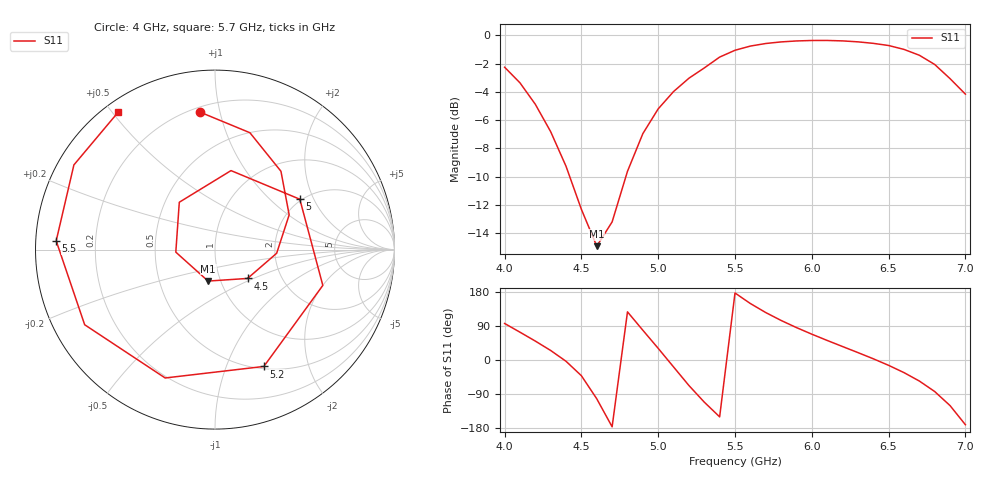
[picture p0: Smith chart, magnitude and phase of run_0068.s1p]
! Touchstone file exported from HFSS 2024.2.0
!  File:  C:/Users/wsak9/Desktop/Sim Fast/Widenad Patch/WP_AI_V1_sweep.aedt
!  Generated:  05:48:13 PM Oct 13, 2026
!  Design:  A1_model
!  Project:  WP_AI_V1_sweep
!  Setup:  Setup1
!  Solution:  Sweep
! Variables:
!  Air_gap = 4.85mm
!  Curve_Amp1 = 2.84
!  Curve_len1 = 1
!  Curve_pos = 12.44mm
!  Extra = 4.16mm
!  H_sub = 0.79mm
!  L_Patch = 20.88mm
!  L_Patch1 = 20.42mm
!  Sx = 1.86mm
!  Sy = 4.7mm
!  WS = 1.43mm
!  W_Patch = 14.63mm
!  W_Patch1 = 16.26mm
!Data is not renormalized
# GHz S MA
! Terminal data exported
! Port[1] = 1
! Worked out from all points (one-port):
!   31 points, 4 GHz to 7 GHz, reference per port
!   lowest |S11| = -14.9 dB at 4.6 GHz (marker M1), VSWR 1.44
!   |S11| at or under -10 dB: 4.424 GHz to 4.789 GHz (365.2 MHz wide, 7.93 % of centre)
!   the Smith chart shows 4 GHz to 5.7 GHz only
!   S11 on the Smith chart (normalised r, x): 4 GHz: 0.23, +0.87; 4.5 GHz: 1.35, -0.46; 5 GHz: 1.96, +1.57; 5.2 GHz: 0.53, -1.37; 5.5 GHz: 0.06, +0.03; 5.7 GHz: 0.04, +0.52
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4  0.7718 96.4
4.1  0.6796 73.4
4.2  0.5705 49.9
4.3  0.4563 25.1
4.4  0.3441 -3.4
4.5  0.2423 -41.5
4.6  0.1795 -102.4
4.7  0.2188 -176.3
4.8  0.3304 127.0
4.9  0.4491 78.5
5  0.5497 30.7
5.1  0.633 -18.4
5.2  0.7056 -67.3
5.3  0.7672 -111.2
5.4  0.8382 -150.0
5.5  0.8861 176.9
5.6  0.9169 149.0
5.7  0.9363 125.2
5.8  0.9485 104.4
5.9  0.956 85.6
6.1  0.9599 51.6
6.3  0.949 19.6
6.5  0.9211 -14.1
6.6  0.8925 -33.3
6.7  0.8509 -55.4
6.8  0.7894 -83.2
6.9  0.7032 -120.3
7  0.6198 -170.8
